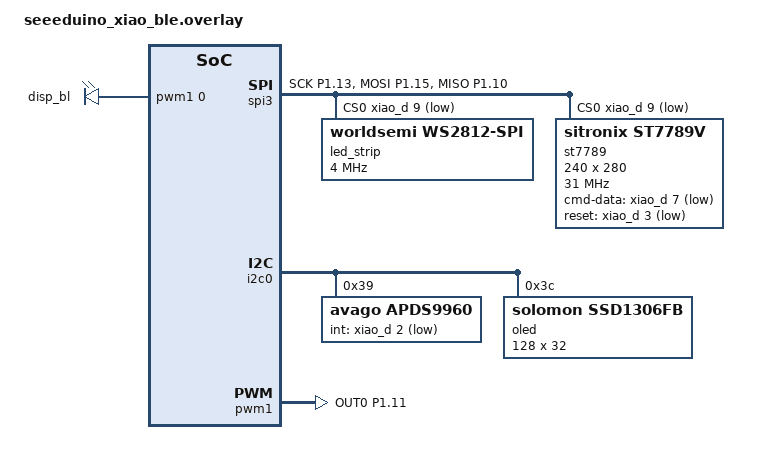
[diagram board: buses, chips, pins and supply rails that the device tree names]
/ {
   pwmleds {
      compatible = "pwm-leds";
      disp_bl: pwm_led_1 {
          pwms = <&pwm1 0 PWM_MSEC(1) PWM_POLARITY_NORMAL>;
      };
  };
};

&spi2 {
   status = "disabled";
};

&pinctrl {
   spi3_default: spi3_default {
		group1 {
			psels = <NRF_PSEL(SPIM_SCK, 1, 13)>,
				<NRF_PSEL(SPIM_MOSI, 1, 15)>,
				<NRF_PSEL(SPIM_MISO, 1, 10)>;
		};
	};

	spi3_sleep: spi3_sleep {
		group1 {
			psels = <NRF_PSEL(SPIM_SCK, 1, 13)>,
				<NRF_PSEL(SPIM_MOSI, 1, 15)>,
				<NRF_PSEL(SPIM_MISO, 1, 10)>;
			low-power-enable;
		};
	};

   pwm1_default: pwm1_default {
      group1 {
         psels = <NRF_PSEL(PWM_OUT0, 1, 11)>;
         nordic,invert;
      };
   };

   pwm1_sleep: pwm1_sleep {
      group1 {
         psels = <NRF_PSEL(PWM_OUT0, 1, 11)>;
         low-power-enable;
      };
   };
};

disp_spi: &spi3 {
   status = "okay";
   pinctrl-0 = <&spi3_default>;
	pinctrl-1 = <&spi3_sleep>;
	pinctrl-names = "default", "sleep";
   cs-gpios = <&xiao_d 9 GPIO_ACTIVE_LOW>;

    led_strip: ws2812@0 {
        compatible = "worldsemi,ws2812-spi";

        /* SPI */
        reg = <0>; /* ignored, but necessary for SPI bindings */
        spi-max-frequency = <4000000>;

        /* WS2812 */
        chain-length = <27>; /* arbitrary; change at will */
        spi-one-frame = <0x70>;
        spi-zero-frame = <0x40>;

        color-mapping = <LED_COLOR_ID_GREEN LED_COLOR_ID_RED LED_COLOR_ID_BLUE>;
    };

   st7789: st7789v@0 {
       compatible = "sitronix,st7789v";
       spi-max-frequency = <31000000>;
       reg = <0>;
       cmd-data-gpios = <&xiao_d 7 GPIO_ACTIVE_LOW>;
       reset-gpios = <&xiao_d 3 GPIO_ACTIVE_LOW>;
       width = <240>;
       height = <280>;
       x-offset = <0>;
       y-offset = <20>;
       vcom = <0x19>;
       gctrl = <0x35>;
       vrhs = <0x12>;
       vdvs = <0x20>;
       mdac = <0x00>;
       gamma = <0x01>;
       colmod = <0x05>;
       lcm = <0x2c>;
       porch-param = [ 0c 0c 00 33 33  ];
       cmd2en-param = [ 5a 69 02 01  ];
       pwctrl1-param = [ a4 a1  ];
       pvgam-param = [ D0 04 0D 11 13 2B 3F 54 4C 18 0D 0B 1F 23  ];
       nvgam-param = [ D0 04 0C 11 13 2C 3F 44 51 2F 1F 1F 20 23  ];
       ram-param = [ 00 F0  ];
       rgb-param = [ CD 08 14  ];
   };
};

&i2c0 {
   status = "okay";

   apds9960: apds9960@39 {
       compatible = "avago,apds9960";
       status = "okay";
       reg = <0x39>;
       int-gpios = <&xiao_d 2 (GPIO_ACTIVE_LOW | GPIO_PULL_UP)>;
   };
    oled: ssd1306@3c {
        compatible = "solomon,ssd1306fb";
        reg = <0x3c>;
        width = <128>;
        height = <32>;
        segment-offset = <0>;
        page-offset = <0>;
        display-offset = <0>;
        multiplex-ratio = <31>;
        segment-remap;
        com-invdir;
        com-sequential;
        inversion-on;
        prechargep = <0x22>;
    };
};

&pwm1 {
  status = "okay";
  pinctrl-0 = <&pwm1_default>;
  pinctrl-1 = <&pwm1_sleep>;
  pinctrl-names = "default", "sleep";
};

/ {
    chosen {
        zmk,underglow = &led_strip;
        zephyr,display = &oled;
    };
};
